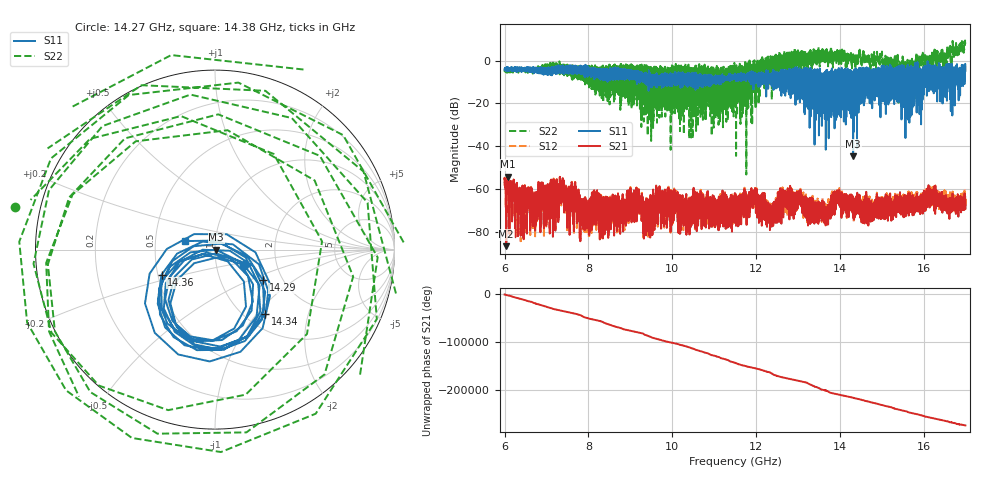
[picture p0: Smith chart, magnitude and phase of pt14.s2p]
#  HZ  S  RI  R  50.00
! Rohde & Schwarz Vector Network Analyzer
! Rohde-Schwarz,ZNA67-2Port,1332450062101215,3.01
! Created: UTC 10/26/2026, 4:59:32 PM
! freq[Hz]  re:S11  im:S11  re:S21  im:S21  re:S12  im:S12  re:S22  im:S22
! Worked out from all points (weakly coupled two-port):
!   11001 points, 6 GHz to 17 GHz, reference 50 ohm
!   highest |S21| = -54.17 dB at 6.073 GHz (marker M1); lowest = -86.8 dB at 6.04 GHz (marker M2)
!   lowest |S11| = -44.6 dB at 14.32 GHz (marker M3), VSWR 1.01, Z = 50.6 - j0.0763 ohm
!   |S11| at or under -10 dB: 13.54893 GHz to 13.5544 GHz (5.473 MHz wide, 0.0404 % of centre); 13.59463 GHz to 13.60002 GHz (5.398 MHz wide, 0.0397 % of centre); 13.61783 GHz to 13.62315 GHz (5.325 MHz wide, 0.0391 % of centre) (the widest 3 of 534)
!   |S22| runs from -53.3 to 9.5 dB; largest |S21 - S12| = 0.0013
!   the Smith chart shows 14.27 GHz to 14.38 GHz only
!   S11 on the Smith chart (normalised r, x): 14.27 GHz: 1.36, -0.24; 14.29 GHz: 1.59, -0.60; 14.34 GHz: 1.23, -1.11; 14.36 GHz: 0.52, -0.16; 14.38 GHz: 0.71, +0.07
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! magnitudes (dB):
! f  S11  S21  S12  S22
! 6 GHz  -4.2  -55.4  -55.4  -5.3
! 6.04 GHz  -3.6  -86.8  -84.4  -4.4
! 6.073 GHz  -3.5  -54.2  -54.1  -4.7
! 6.72 GHz  -5.5  -71.8  -71.2  -4.8
! 7.357 GHz  -2.8  -63.1  -63.5  -1.9
! 7.834 GHz  -2.6  -70.0  -69.3  -3.4
! 9.155 GHz  -7.0  -62.2  -62.2  -3.5
! 9.358 GHz  -8.7  -66.0  -66.9  -21.2
! 9.667 GHz  -7.4  -65.3  -64.6  -4.7
! 11.5 GHz  -6.4  -72.1  -69.4  -4.7
! 12.34 GHz  -7.1  -70.1  -71.7  -6.0
! 13.03 GHz  -7.1  -64.4  -63.5  1.0
! 13.33 GHz  -5.2  -68.1  -65.9  -2.8
! 14.27 GHz  -14.7  -69.1  -67.7  1.1
! 14.29 GHz  -10.0  -68.8  -65.9  -1.4
! 14.32 GHz  -44.6  -72.3  -71.8  2.1
! 14.34 GHz  -6.8  -74.2  -69.1  -0.6
! 14.36 GHz  -9.6  -67.8  -64.7  1.2
! 14.38 GHz  -15.3  -70.7  -68.2  1.9
! 15.17 GHz  -4.1  -66.4  -65.0  -2.0
! 15.62 GHz  -2.9  -67.6  -68.9  0.5
! 17 GHz  -4.7  -65.3  -67.8  8.5
